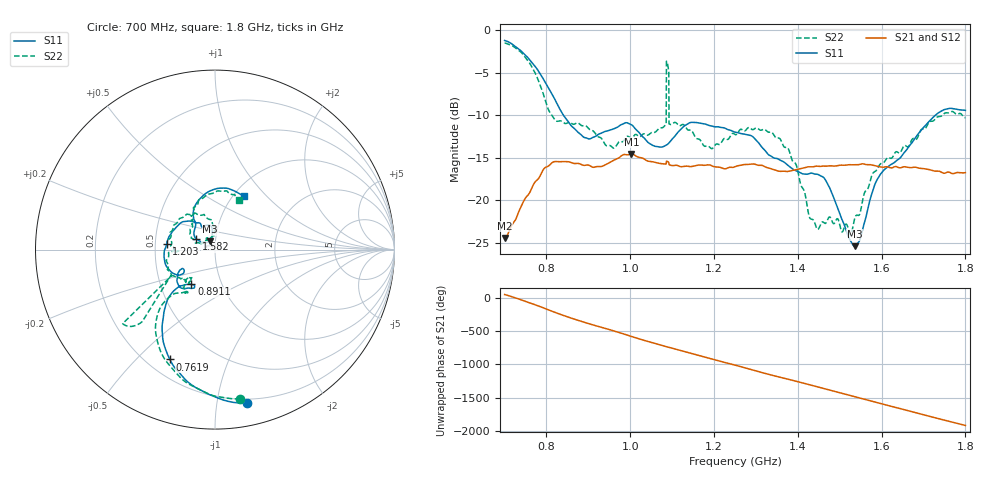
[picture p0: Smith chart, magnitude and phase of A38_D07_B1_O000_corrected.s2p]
! Created with skrf 1.9.0 (http://scikit-rf.org).
# Hz S RI R 50.0
!freq ReS11 ImS11 ReS21 ImS21 ReS12 ImS12 ReS22 ImS22
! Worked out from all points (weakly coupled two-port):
!   1601 points, 700 MHz to 1.8 GHz, reference 50 ohm
!   highest |S21| = -14.53 dB at 1.002 GHz (marker M1); lowest = -24.4 dB at 700 MHz (marker M2)
!   lowest |S11| = -25.4 dB at 1.536 GHz (marker M3), VSWR 1.11, Z = 47.1 + j4.38 ohm
!   |S11| at or under -10 dB: 840.8 MHz to 1.728 GHz (887.1 MHz wide, 69.1 % of centre)
!   |S22| runs from -24.0 to -1.5 dB; largest |S21 - S12| = 0.0035
!   S11 on the Smith chart (normalised r, x): 700 MHz: 0.17, -1.21; 761.9 MHz: 0.29, -0.63; 891.1 MHz: 0.72, -0.29; 1.203 GHz: 0.57, +0.04; 1.582 GHz: 0.80, +0.10; 1.8 GHz: 1.11, +0.75
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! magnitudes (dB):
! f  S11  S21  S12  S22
! 700 MHz  -1.2  -24.4  -24.2  -1.5
! 761.9 MHz  -3.6  -18.9  -18.8  -4.0
! 818.9 MHz  -8.0  -15.4  -15.5  -10.4
! 883.6 MHz  -12.3  -15.8  -15.7  -11.2
! 891.1 MHz  -12.6  -15.9  -15.9  -11.2
! 958.5 MHz  -11.6  -15.3  -15.3  -13.8
! 1.002 GHz  -11.1  -14.5  -14.6  -12.7
! 1.067 GHz  -13.7  -15.6  -15.6  -11.6
! 1.08 GHz  -13.6  -15.7  -15.7  -11.3
! 1.086 GHz  -13.5  -15.4  -15.4  -3.6
! 1.092 GHz  -13.3  -15.5  -15.5  -4.9
! 1.098 GHz  -12.9  -15.9  -15.9  -11.1
! 1.203 GHz  -11.3  -16.1  -16.1  -13.4
! 1.25 GHz  -12.0  -16.0  -16.0  -12.2
! 1.357 GHz  -15.3  -16.6  -16.5  -12.7
! 1.434 GHz  -16.8  -16.1  -16.0  -22.2
! 1.467 GHz  -17.7  -16.0  -16.0  -22.7
! 1.536 GHz  -25.4  -15.8  -15.8  -22.1
! 1.582 GHz  -18.4  -15.9  -15.9  -16.7
! 1.617 GHz  -16.0  -16.1  -16.1  -15.0
! 1.734 GHz  -9.7  -16.6  -16.6  -10.2
! 1.8 GHz  -9.4  -16.7  -16.7  -10.2
